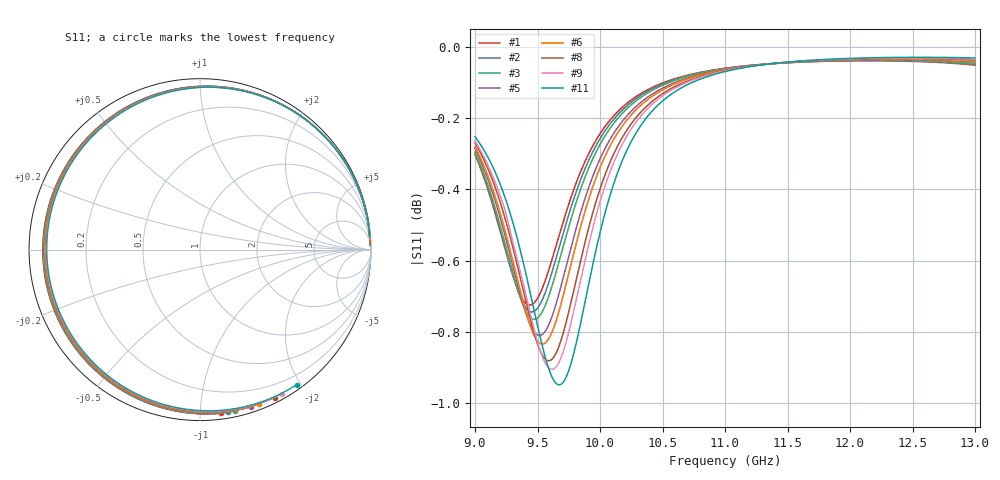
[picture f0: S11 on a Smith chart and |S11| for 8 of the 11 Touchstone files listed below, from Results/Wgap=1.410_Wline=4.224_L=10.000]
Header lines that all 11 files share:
! TOUCHSTONE file generated by CST DESIGN STUDIO
! Project name: C:\Work\MatlabApps\UnitCellOptimizationMatlab\CST\unitcell.cst
! Tree item: Tasks\Sweep1\SPara1\S-Parameters
! Header version: 2024
! Port assignment regex: !\s*Touchstone port\s*([0-9]+)\s*=\s*(CST MWS port|CST DES external port|CST DES block port)\s*(.+)\s* \(\"(.*)\"\)(\s*mode\s*([0-9]+))?.*
! Touchstone port assignment:
! Touchstone port 1 = CST DES external port 1 ("")
# GHz S MA R 50
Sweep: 9 GHz to 13 GHz
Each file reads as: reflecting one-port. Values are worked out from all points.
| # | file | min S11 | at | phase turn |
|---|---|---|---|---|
| 1 | DS_for_MWS-run-0001.s1p | -0.7 dB | 9.438 GHz | -276 deg |
| 2 | DS_for_MWS-run-0002.s1p | -0.7 dB | 9.455 GHz | -278 deg |
| 3 | DS_for_MWS-run-0003.s1p | -0.8 dB | 9.473 GHz | -280 deg |
| 4 | DS_for_MWS-run-0004.s1p | -0.8 dB | 9.494 GHz | -283 deg |
| 5 | DS_for_MWS-run-0005.s1p | -0.8 dB | 9.516 GHz | -285 deg |
| 6 | DS_for_MWS-run-0006.s1p | -0.8 dB | 9.539 GHz | -288 deg |
| 7 | DS_for_MWS-run-0007.s1p | -0.9 dB | 9.563 GHz | -291 deg |
| 8 | DS_for_MWS-run-0008.s1p | -0.9 dB | 9.59 GHz | -293 deg |
| 9 | DS_for_MWS-run-0009.s1p | -0.9 dB | 9.616 GHz | -296 deg |
| 10 | DS_for_MWS-run-0010.s1p | -0.9 dB | 9.644 GHz | -299 deg |
| 11 | DS_for_MWS-run-0011.s1p | -0.9 dB | 9.673 GHz | -302 deg |
